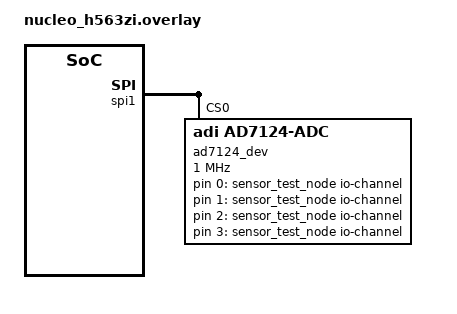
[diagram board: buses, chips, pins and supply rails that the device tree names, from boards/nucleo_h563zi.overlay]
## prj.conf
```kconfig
# Logging
CONFIG_LOG=y
CONFIG_LOG_DEFAULT_LEVEL=3
CONFIG_REGULATOR_TPS55287Q1_LOG_LEVEL=4

# Enable floating-point printf support
CONFIG_CBPRINTF_FP_SUPPORT=y

# SPI support
CONFIG_SPI=y

# I2C support
# CONFIG_I2C=y

# GPIO support
# CONFIG_GPIO=y

# Regulator subsystem
# CONFIG_REGULATOR=y
# CONFIG_REGULATOR_TPS55287Q1=y

# Enable coo_commons library
# CONFIG_COO_COMMONS=y

# Optional: Network support (for future MQTT telemetry)
# CONFIG_NETWORKING=y
# CONFIG_COO_NETWORK=y
# CONFIG_COO_JSON=y
# CONFIG_COO_MQTT=y

# CONFIG_COO_CONFIG_LIB=y
# CONFIG_COO_HEATERS_LIB=y
# CONFIG_COO_SENSORS_LIB=y
CONFIG_ADC=y

# Console
# CONFIG_SERIAL=y
# CONFIG_CONSOLE=y
# CONFIG_UART_CONSOLE=y
# CONFIG_PRINTK=y
CONFIG_LOG_MODE_IMMEDIATE=y
```

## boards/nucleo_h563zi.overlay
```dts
/*
 * Devicetree overlay for NUCLEO-H563ZI:
 * - AD7124 ADC on SPI1
 */

/ {
    aliases {
        sensor-test = &sensor_test_node;
    };

    sensor_test_node: zephyr,user {
        io-channels = <&ad7124_dev 0>,
                      <&ad7124_dev 1>,
                      <&ad7124_dev 2>,
                      <&ad7124_dev 3>;
    };
};

&spi1 {
    status = "okay";

    ad7124_dev: ad7124@0 {
        compatible = "adi,ad7124-adc";
        status = "okay";
        reg = <0>;
        spi-max-frequency = <1000000>;
        power-mode = <2>;
        active-device = <1>;

        #address-cells = <1>;
        #size-cells = <0>;

        #io-channel-cells = <1>;

        channel@0 {
            reg = <0>;
            zephyr,gain = "ADC_GAIN_4";
            zephyr,reference = "ADC_REF_EXTERNAL0";
            zephyr,acquisition-time = <ADC_ACQ_TIME_DEFAULT>;
            zephyr,resolution = <24>;
            zephyr,current-source-pin = [ 03 01 ];
            zephyr,input-positive = <2>;
            zephyr,input-negative = <3>;
        };

        channel@1 {
            reg = <1>;
            zephyr,gain = "ADC_GAIN_4";
            zephyr,reference = "ADC_REF_EXTERNAL0";
            zephyr,acquisition-time = <ADC_ACQ_TIME_DEFAULT>;
            zephyr,resolution = <24>;
            zephyr,current-source-pin = [ 03 04 ];
            zephyr,input-positive = <5>;
            zephyr,input-negative = <6>;
        };

        channel@2 {
            reg = <2>;
            zephyr,gain = "ADC_GAIN_4";
            zephyr,reference = "ADC_REF_EXTERNAL0";
            zephyr,acquisition-time = <ADC_ACQ_TIME_DEFAULT>;
            zephyr,resolution = <24>;
            zephyr,current-source-pin = [ 03 08 ];
            zephyr,input-positive = <9>;
            zephyr,input-negative = <10>;
        };

        channel@3 {
            reg = <3>;
            zephyr,gain = "ADC_GAIN_4";
            zephyr,reference = "ADC_REF_EXTERNAL0";
            zephyr,acquisition-time = <ADC_ACQ_TIME_DEFAULT>;
            zephyr,resolution = <24>;
            zephyr,current-source-pin = [ 03 0B ];
            zephyr,input-positive = <12>;
            zephyr,input-negative = <13>;
        };
    };
};
```

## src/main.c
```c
#include <zephyr/kernel.h>
#include <zephyr/drivers/adc.h>
#include <zephyr/drivers/spi.h>
#include <zephyr/logging/log.h>
#include <stdio.h>

#include <config.h>

LOG_MODULE_REGISTER(main, LOG_LEVEL_INF);

/* PT1000 front-end calibration: 5.11k reference, AD7124 PGA at 4x, 24-bit bipolar.
 * Temperature is a linear approximation and drifts outside roughly 0-100 C. */
#define RTD_REFERENCE_OHMS   5110.0f
#define ADC_GAIN             4.0f
#define ADC_RESOLUTION_BITS  24
#define RTD_NOMINAL_OHMS     1000.0f
#define RTD_TEMP_COEFFICIENT 3850.0f

#if DT_NODE_HAS_STATUS(DT_ALIAS(sensor_test), okay)
// Define channels from the overlay
static const struct adc_dt_spec adc_channels[] = {
    ADC_DT_SPEC_GET_BY_IDX(DT_ALIAS(sensor_test), 0),
    ADC_DT_SPEC_GET_BY_IDX(DT_ALIAS(sensor_test), 1),
    ADC_DT_SPEC_GET_BY_IDX(DT_ALIAS(sensor_test), 2),
    ADC_DT_SPEC_GET_BY_IDX(DT_ALIAS(sensor_test), 3),
};
#endif

int main(void)
{
	int ret;

#if DT_NODE_HAS_STATUS(DT_ALIAS(sensor_test), okay)
	int32_t buf;
	struct adc_sequence sequence = {
		.buffer = &buf,
		.buffer_size = sizeof(buf),
	};

    for (size_t i = 0; i < ARRAY_SIZE(adc_channels); i++) {
        if (!adc_is_ready_dt(&adc_channels[i])) {
            LOG_ERR("ADC controller device %s not ready", adc_channels[i].dev->name);
            return 0;
        }
    }

	LOG_INF("Starting ADC sampling loop...");

    uint32_t start_time = k_uptime_get_32();
    int sample_count = 1000;

    for (size_t ch = 0; ch < ARRAY_SIZE(adc_channels); ch++) {
        ret = adc_channel_setup_dt(&adc_channels[ch]);
        if (ret < 0) {
            LOG_ERR("Could not setup channel #%zu (%d)", ch, ret);
            return 0;
        }
    }

	for (int i = 0; i < sample_count; i++) {

        for (size_t ch = 0; ch < ARRAY_SIZE(adc_channels); ch++) {
            (void)adc_sequence_init_dt(&adc_channels[ch], &sequence);

            ret = adc_read(adc_channels[ch].dev, &sequence);

            if (ret < 0) {
                LOG_ERR("Could not read channel %zu (%d)", ch, ret);
                continue;
            }

            int32_t val_mv = buf;

            ret = adc_raw_to_millivolts_dt(&adc_channels[ch], &val_mv);
            if (ret < 0) {
                LOG_WRN("Call to adc_raw_to_millivolts_dt failed: %d", ret);
            } else {
                /* Ratiometric: excitation current cancels, so resistance follows
                 * directly from the bipolar code offset against the reference. */
                const int32_t max_count = (1 << (ADC_RESOLUTION_BITS - 1)) - 1;
                float r_rtd = (((float)buf - (float)max_count) * RTD_REFERENCE_OHMS) /
                              (ADC_GAIN * (float)max_count);
                float temp_c = (r_rtd - RTD_NOMINAL_OHMS) / (RTD_TEMP_COEFFICIENT / RTD_NOMINAL_OHMS);
                float temp_k = temp_c + 273.15f;

                printf("%zu,%6d,%.6f,%.6f,%.6f\n", ch, buf, (double)r_rtd, (double)temp_c, (double)temp_k);
            }
        }
        printf("--------------------------------------------\n");
	}

    uint32_t end_time = k_uptime_get_32();
    uint32_t duration = end_time - start_time;
    printf("Total Time: %u ms\n", duration);
    if(duration > 0) {
        printf("Frequency: %.2f Hz\n",
               (double)(sample_count * ARRAY_SIZE(adc_channels)) * 1000.0 / (double)duration);
    }

    while(1) {
        k_sleep(K_FOREVER);
    }
#else
    LOG_WRN("ADC Device (sensor_test) is DISABLED in Devicetree");
    while(1) {
        k_sleep(K_SECONDS(1));
    }
#endif

	return 0;
}
```
